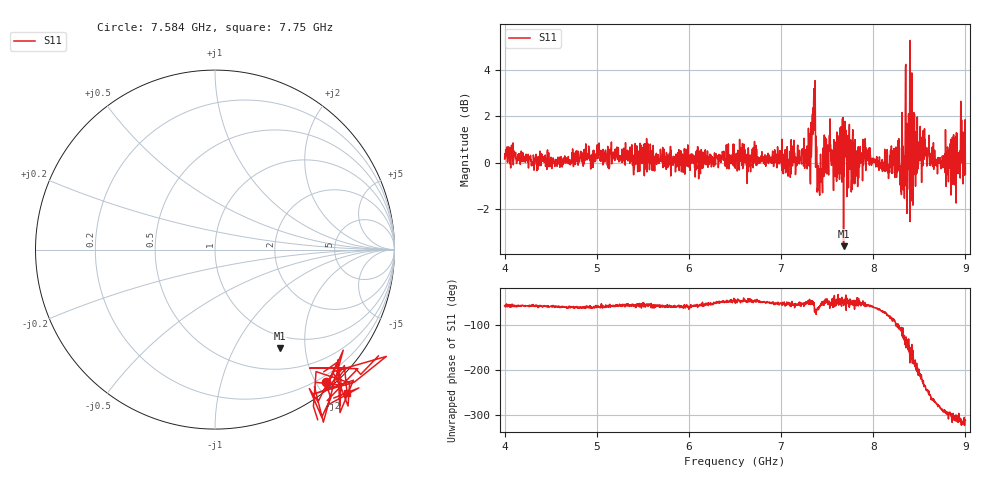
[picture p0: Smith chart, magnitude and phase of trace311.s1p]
! Created with skrf 1.8.0 (http://scikit-rf.org).
# Hz S RI R 50.0
!freq ReS11 ImS11
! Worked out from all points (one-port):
!   1601 points, 4 GHz to 9 GHz, reference 50 ohm
!   lowest |S11| = -3.6 dB at 7.678 GHz (marker M1), VSWR 4.88, Z = 39.8 - j77.7 ohm
!   |S11| at or under -10 dB: nowhere
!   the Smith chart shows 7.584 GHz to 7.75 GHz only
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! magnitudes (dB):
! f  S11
! 4 GHz  0.2
! 4.625 GHz  -0.2
! 5.25 GHz  0.3
! 5.875 GHz  0.2
! 6.5 GHz  0.1
! 7.125 GHz  -0.1
! 7.297 GHz  1.5
! 7.347 GHz  2.4
! 7.362 GHz  2.9
! 7.397 GHz  -1.2
! 7.416 GHz  -1.3
! 7.516 GHz  -0.5
! 7.591 GHz  0.9
! 7.65 GHz  1.6
! 7.678 GHz  -3.6
! 7.75 GHz  0.7
! 8.262 GHz  -0.4
! 8.312 GHz  2.2
! 8.334 GHz  0.3
! 8.347 GHz  2.0
! 8.372 GHz  -1.2
! 8.375 GHz  -0.3
! 8.447 GHz  2.1
! 8.553 GHz  0.2
! 8.712 GHz  0.1
! 8.919 GHz  -0.5
! 8.972 GHz  0.5
! 9 GHz  -0.5
